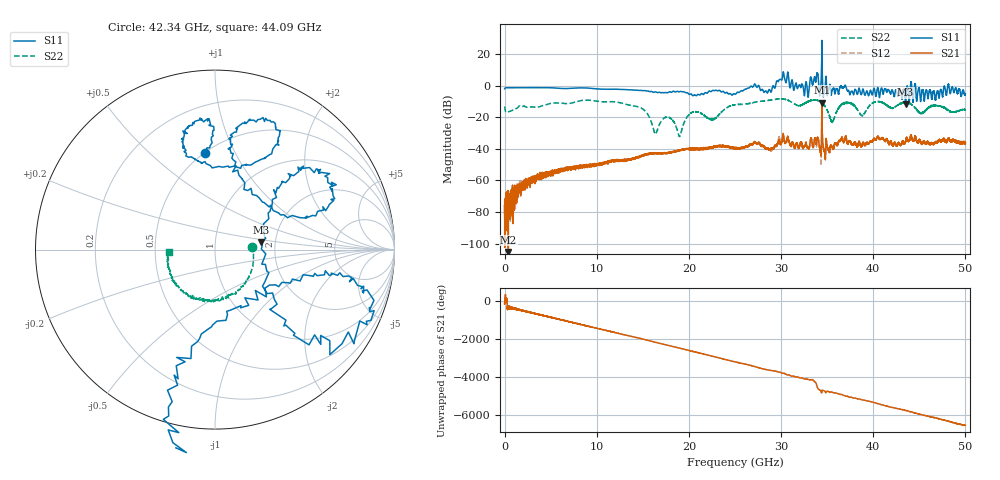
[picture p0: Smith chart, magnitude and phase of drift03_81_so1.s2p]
!Created with skrf (http://scikit-rf.org).
# Hz S RI R 50.0
!freq ReS11 ImS11 ReS21 ImS21 ReS12 ImS12 ReS22 ImS22
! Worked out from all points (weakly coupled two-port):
!   10000 points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, 5.3 MHz to 50 GHz, reference 50 ohm
!   highest |S21| = -10.73 dB at 34.43 GHz (marker M1); lowest = -105.2 dB at 410.3 MHz (marker M2)
!   lowest |S11| = -11.8 dB at 43.51 GHz (marker M3), VSWR 1.69, Z = 83.7 + j7.12 ohm
!   |S11| at or under -10 dB: 43.48367 GHz to 43.54148 GHz (57.81 MHz wide, 0.133 % of centre); 44.31173 GHz to 44.31802 GHz (6.289 MHz wide, 0.0142 % of centre); 44.32956 GHz to 44.33031 GHz (746.7 kHz wide, 0.00168 % of centre) (the widest 3 of 4)
!   |S22| runs from -32.2 to -8.4 dB; largest |S21 - S12| = 0.092
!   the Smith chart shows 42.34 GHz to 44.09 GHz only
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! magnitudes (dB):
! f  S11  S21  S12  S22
! 5.3 MHz  -2.1  -80.4  -74.5  -13.3
! 410.3 MHz  -1.4  -105.2  -77.2  -16.7
! 3.04 GHz  -1.4  -59.2  -61.0  -13.4
! 8.34 GHz  -1.5  -50.9  -51.1  -9.5
! 14.59 GHz  -3.1  -44.9  -45.2  -13.6
! 16.67 GHz  -4.4  -42.5  -42.9  -26.6
! 17.8 GHz  -4.2  -42.5  -42.3  -20.1
! 19 GHz  -3.9  -40.8  -41.1  -32.2
! 20.3 GHz  -5.6  -40.1  -39.7  -17.1
! 22.58 GHz  -3.1  -38.7  -39.0  -21.5
! 25.01 GHz  -5.5  -39.9  -39.8  -12.1
! 28.72 GHz  -2.5  -40.3  -40.2  -9.3
! 30.14 GHz  4.4  -33.8  -33.8  -8.5
! 32.74 GHz  2.0  -36.8  -36.6  -10.6
! 33.34 GHz  2.6  -35.2  -35.1  -9.3
! 34.43 GHz  28.5  -10.7  -13.0  -10.8
! 35.54 GHz  -3.1  -38.9  -39.0  -23.2
! 36.94 GHz  0.1  -33.6  -33.7  -11.2
! 38.78 GHz  -4.5  -37.9  -37.7  -19.0
! 41.67 GHz  -2.8  -37.0  -37.0  -13.4
! 43.51 GHz  -11.8  -35.2  -35.4  -10.6
! 50 GHz  -5.3  -36.4  -36.2  -15.4
